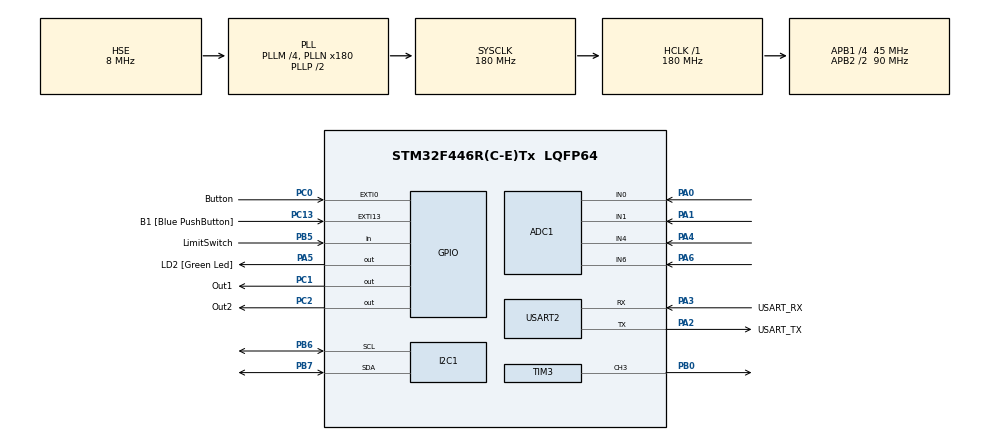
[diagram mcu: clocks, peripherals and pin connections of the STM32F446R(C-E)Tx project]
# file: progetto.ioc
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ADC1.Channel-0\#ChannelRegularConversion=ADC_CHANNEL_0
ADC1.Channel-1\#ChannelRegularConversion=ADC_CHANNEL_1
ADC1.Channel-2\#ChannelRegularConversion=ADC_CHANNEL_4
ADC1.Channel-3\#ChannelRegularConversion=ADC_CHANNEL_6
ADC1.ContinuousConvMode=ENABLE
ADC1.DMAContinuousRequests=ENABLE
ADC1.InjNumberOfConversion=0
ADC1.NbrOfConversion=4
ADC1.NbrOfConversionFlag=1
ADC1.Rank-0\#ChannelRegularConversion=1
ADC1.Rank-1\#ChannelRegularConversion=2
ADC1.Rank-2\#ChannelRegularConversion=3
ADC1.Rank-3\#ChannelRegularConversion=4
ADC1.SamplingTime-0\#ChannelRegularConversion=ADC_SAMPLETIME_3CYCLES
ADC1.SamplingTime-1\#ChannelRegularConversion=ADC_SAMPLETIME_3CYCLES
ADC1.SamplingTime-2\#ChannelRegularConversion=ADC_SAMPLETIME_3CYCLES
ADC1.SamplingTime-3\#ChannelRegularConversion=ADC_SAMPLETIME_3CYCLES
ADC1.ScanConvMode=ENABLE
ADC1.master=1
Dma.ADC1.0.Direction=DMA_PERIPH_TO_MEMORY
Dma.ADC1.0.FIFOMode=DMA_FIFOMODE_ENABLE
Dma.ADC1.0.FIFOThreshold=DMA_FIFO_THRESHOLD_FULL
Dma.ADC1.0.Instance=DMA2_Stream0
Dma.ADC1.0.MemBurst=DMA_MBURST_SINGLE
Dma.ADC1.0.MemDataAlignment=DMA_MDATAALIGN_HALFWORD
Dma.ADC1.0.MemInc=DMA_MINC_ENABLE
Dma.ADC1.0.Mode=DMA_CIRCULAR
Dma.ADC1.0.PeriphBurst=DMA_PBURST_SINGLE
Dma.ADC1.0.PeriphDataAlignment=DMA_PDATAALIGN_HALFWORD
Dma.ADC1.0.PeriphInc=DMA_PINC_DISABLE
Dma.ADC1.0.Priority=DMA_PRIORITY_LOW
Dma.Request0=ADC1
I2C1.I2C_Mode=I2C_Fast
Mcu.Family=STM32F4
Mcu.Name=STM32F446R(C-E)Tx
Mcu.Package=LQFP64
NVIC.DMA2_Stream0_IRQn=true\:3\:0\:true\:false\:true\:false\:true\:true
NVIC.EXTI0_IRQn=true\:3\:0\:true\:false\:true\:true\:true\:true
NVIC.PriorityGroup=NVIC_PRIORITYGROUP_2
PA0-WKUP.Signal=ADCx_IN0
PA1.Signal=ADCx_IN1
PA13.GPIO_Label=TMS
PA13.Mode=Serial_Wire
PA13.Signal=SYS_JTMS-SWDIO
PA14.GPIO_Label=TCK
PA14.Mode=Serial_Wire
PA14.Signal=SYS_JTCK-SWCLK
PA2.GPIO_Label=USART_TX
PA2.Mode=Asynchronous
PA2.Signal=USART2_TX
PA3.GPIO_Label=USART_RX
PA3.Mode=Asynchronous
PA3.Signal=USART2_RX
PA4.Signal=ADCx_IN4
PA5.GPIO_Label=LD2 [Green Led]
PA5.Signal=GPIO_Output
PA6.Signal=ADCx_IN6
PB0.Signal=S_TIM3_CH3
PB3.GPIO_Label=SWO
PB3.Signal=SYS_JTDO-SWO
PB5.GPIO_Label=LimitSwitch
PB5.Signal=GPIO_Input
PB6.Mode=I2C
PB6.Signal=I2C1_SCL
PB7.Mode=I2C
PB7.Signal=I2C1_SDA
PC0.GPIO_Label=Button
PC0.GPIO_ModeDefaultEXTI=GPIO_MODE_IT_FALLING
PC0.GPIO_PuPd=GPIO_PULLUP
PC0.Signal=GPXTI0
PC1.GPIO_Label=Out1
PC1.GPIO_PuPd=GPIO_PULLUP
PC1.Signal=GPIO_Output
PC13.GPIO_Label=B1 [Blue PushButton]
PC13.GPIO_ModeDefaultEXTI=GPIO_MODE_IT_FALLING
PC13.Signal=GPXTI13
PC14-OSC32_IN.Mode=LSE-External-Oscillator
PC14-OSC32_IN.Signal=RCC_OSC32_IN
PC15-OSC32_OUT.Mode=LSE-External-Oscillator
PC15-OSC32_OUT.Signal=RCC_OSC32_OUT
PC2.GPIO_Label=Out2
PC2.GPIO_PuPd=GPIO_PULLUP
PC2.Signal=GPIO_Output
PH0-OSC_IN.Mode=HSE-External-Oscillator
PH0-OSC_IN.Signal=RCC_OSC_IN
PH1-OSC_OUT.Mode=HSE-External-Oscillator
PH1-OSC_OUT.Signal=RCC_OSC_OUT
ProjectManager.HeapSize=0x200
ProjectManager.StackSize=0x400
ProjectManager.TargetToolchain=STM32CubeIDE
RCC.48MHZClocksFreq_Value=84000000
RCC.AHBFreq_Value=180000000
RCC.APB1CLKDivider=RCC_HCLK_DIV4
RCC.APB1Freq_Value=45000000
RCC.APB1TimFreq_Value=90000000
RCC.APB2CLKDivider=RCC_HCLK_DIV2
RCC.APB2Freq_Value=90000000
RCC.APB2TimFreq_Value=180000000
RCC.CortexFreq_Value=180000000
RCC.FLatency-AdvancedSettings=FLASH_LATENCY_5
RCC.HCLKFreq_Value=180000000
RCC.HSE_VALUE=8000000
RCC.HSI_VALUE=16000000
RCC.PLLM=4
RCC.PLLN=180
RCC.PLLSourceVirtual=RCC_PLLSOURCE_HSE
RCC.SYSCLKFreq_VALUE=180000000
RCC.SYSCLKSource=RCC_SYSCLKSOURCE_PLLCLK
RCC.USBFreq_Value=180000000
RCC.VCOOutputFreq_Value=360000000
SH.ADCx_IN0.0=ADC1_IN0,IN0
SH.ADCx_IN1.0=ADC1_IN1,IN1
SH.ADCx_IN4.0=ADC1_IN4,IN4
SH.ADCx_IN6.0=ADC1_IN6,IN6
SH.S_TIM3_CH3.0=TIM3_CH3,PWM Generation3 CH3
TIM3.Channel-PWM\ Generation3\ CH3=TIM_CHANNEL_3
TIM3.Prescaler=83
USART2.VirtualMode=VM_ASYNC
board=NUCLEO-F446RE

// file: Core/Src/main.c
/* USER CODE BEGIN Header */
/**
  ******************************************************************************
  * @file           : main.c
  * @brief          : Main program body
  ******************************************************************************
  * @attention
  *
  * Copyright (c) 2024 STMicroelectronics.
  * All rights reserved.
  *
  * This software is licensed under terms that can be found in the LICENSE file
  * in the root directory of this software component.
  * If no LICENSE file comes with this software, it is provided AS-IS.
  *
  ******************************************************************************
  */
/* USER CODE END Header */
#include "main.h"
#include "adc.h"
#include "dma.h"
#include "i2c.h"
#include "tim.h"
#include "usart.h"
#include "gpio.h"

/* USER CODE BEGIN Includes */
#include <stdio.h>
#include <stdbool.h>
#include "pca9685.h"
#include "ina219.h"
/* USER CODE END Includes */

/* USER CODE BEGIN PD */
#define INA219_ADDRESS (0x41)

#define PULSE_MAX 99
#define PULSE_MIN 0
/* USER CODE END PD */

/* USER CODE BEGIN PV */
  INA219_t ina219;

  uint8_t ActiveServo;
  uint16_t adcValues[4];
  uint8_t angles[4];

  bool grippe=0;
  bool finecorsa=0;
  float current_value = 0;
  float current_ref = 0.4;
  float integral = 0;
  float previous_error = 0;
  uint16_t pulse = 0;

  float current_value = 0;

/* USER CODE END PV */

void SystemClock_Config(void);
/* USER CODE BEGIN PFP */

void HAL_GPIO_EXTI_Callback(uint16_t GPIO_Pin) {
    if(HAL_GPIO_ReadPin(GPIOC, GPIO_PIN_0) == GPIO_PIN_RESET) {
   	 gripper = !gripper;
    	}
}

/* USER CODE END PFP */

/* USER CODE BEGIN 0 */

int __io_putchar(int ch)
{
  HAL_UART_Transmit(&huart2, (uint8_t *)&ch, 1, HAL_MAX_DELAY);
  return ch;
}

void _putchar(char c)
{
  ITM_SendChar(c);
}

void SWV_PrintInt(int val)
{
    char buffer[32];
    sprintf(buffer, "%d\n", val);
    for (int i = 0; buffer[i] != '\0'; i++) {
        ITM_SendChar(buffer[i]);
    }
}

/* USER CODE END 0 */

int main(void)
{

  /* MCU Configuration--------------------------------------------------------*/

  /* Reset of all peripherals, Initializes the Flash interface and the Systick. */
  HAL_Init();

  /* Configure the system clock */
  SystemClock_Config();

  /* Initialize all configured peripherals */
  MX_GPIO_Init();
  MX_DMA_Init();
  MX_USART2_UART_Init();
  MX_I2C1_Init();
  MX_ADC1_Init();
  MX_TIM3_Init();
  /* USER CODE BEGIN 2 */
  HAL_ADC_Start_DMA(&hadc1, (uint32_t*)adcValues, 4);

  PCA9685_Init(&hi2c1);
  while(!INA219_Init(&ina219, &hi2c1, INA219_ADDRESS, 0.500)){}

  if (HAL_I2C_IsDeviceReady(&hi2c1, PCA9685_ADDRESS, 1, HAL_MAX_DELAY) != HAL_OK) {
        Error_Handler();
    }

  if (HAL_I2C_IsDeviceReady(&hi2c1, INA219_ADDRESS<<1, 1, HAL_MAX_DELAY) != HAL_OK) {
      Error_Handler();
  }

  PCA9685_SetServoAngle(0, 0);
  PCA9685_SetServoAngle(1, 0);
  PCA9685_SetServoAngle(2, 0);
  PCA9685_SetServoAngle(3, 0);
  PCA9685_SetServoAngle(4, 0);
  /* USER CODE END 2 */

  /* Infinite loop */
  /* USER CODE BEGIN WHILE */
  while (1)
  {
	  angles[0] = (uint8_t)((adcValues[0]*180)/4096);
	  angles[1] = (uint8_t)((adcValues[1]*180)/4096);
	  angles[2] = (uint8_t)((adcValues[2]*180)/4096);
	  angles[3] = (uint8_t)((adcValues[3]*180)/4096);

	  PCA9685_SetServoAngle(0, angles[0]);
	  PCA9685_SetServoAngle(1, angles[1]);
	  PCA9685_SetServoAngle(2, angles[2]);
	  PCA9685_SetServoAngle(3, angles[3]);

	  current_value = INA219_ReadCurrent(&ina219);
	  SWV_PrintInt(current_value * 1000);
	  SWV_PrintInt(current_ref);
	  HAL_Delay(500);

	     if (gripper == 1) {
	          HAL_GPIO_WritePin(GPIOC, GPIO_PIN_1, GPIO_PIN_RESET);
	          HAL_GPIO_WritePin(GPIOC, GPIO_PIN_2, GPIO_PIN_SET);

	          float error = current_ref - current_value;

	          float derivative = (error - previous_error) / 0.1;

	          if ((pulse > PULSE_MAX && error > 0) || (pulse < PULSE_MIN && error < 0)) {
	              integral = integral;
	          } else {
	              integral += error * 0.1;
	          }

	          float control_signal = (Kp * error) + (Ki * integral) + (Kd * derivative);
	          pulse += (int)control_signal;

	          if (pulse > PULSE_MAX) pulse = PULSE_MAX;
	          if (pulse < PULSE_MIN) pulse = PULSE_MIN;

	          __HAL_TIM_SET_COMPARE(&htim3, TIM_CHANNEL_3, pulse);

	          previous_error = error;
	      }

	     else if (gripper==0){
	          HAL_GPIO_WritePin(GPIOC, GPIO_PIN_1, GPIO_PIN_SET);
	          HAL_GPIO_WritePin(GPIOC, GPIO_PIN_2, GPIO_PIN_RESET);
	          if (HAL_GPIO_ReadPin(GPIOB, GPIO_PIN_5) == GPIO_PIN_RESET){
	              HAL_GPIO_WritePin(GPIOC, GPIO_PIN_1, GPIO_PIN_RESET);
	              HAL_GPIO_WritePin(GPIOC, GPIO_PIN_2, GPIO_PIN_RESET);
	              __HAL_TIM_SET_COMPARE(&htim3, TIM_CHANNEL_3, 0);
	          }
		  }

    /* USER CODE END WHILE */

  }
}

void SystemClock_Config(void)
{
  RCC_OscInitTypeDef RCC_OscInitStruct = {0};
  RCC_ClkInitTypeDef RCC_ClkInitStruct = {0};

  /** Configure the main internal regulator output voltage
  */
  __HAL_RCC_PWR_CLK_ENABLE();
  __HAL_PWR_VOLTAGESCALING_CONFIG(PWR_REGULATOR_VOLTAGE_SCALE1);

  /** Initializes the RCC Oscillators according to the specified parameters
  * in the RCC_OscInitTypeDef structure.
  */
  RCC_OscInitStruct.OscillatorType = RCC_OSCILLATORTYPE_HSE;
  RCC_OscInitStruct.HSEState = RCC_HSE_ON;
  RCC_OscInitStruct.PLL.PLLState = RCC_PLL_ON;
  RCC_OscInitStruct.PLL.PLLSource = RCC_PLLSOURCE_HSE;
  RCC_OscInitStruct.PLL.PLLM = 4;
  RCC_OscInitStruct.PLL.PLLN = 180;
  RCC_OscInitStruct.PLL.PLLP = RCC_PLLP_DIV2;
  RCC_OscInitStruct.PLL.PLLQ = 2;
  RCC_OscInitStruct.PLL.PLLR = 2;
  if (HAL_RCC_OscConfig(&RCC_OscInitStruct) != HAL_OK)
  {
    Error_Handler();
  }

  /** Activate the Over-Drive mode
  */
  if (HAL_PWREx_EnableOverDrive() != HAL_OK)
  {
    Error_Handler();
  }

  /** Initializes the CPU, AHB and APB buses clocks
  */
  RCC_ClkInitStruct.ClockType = RCC_CLOCKTYPE_HCLK|RCC_CLOCKTYPE_SYSCLK
                              |RCC_CLOCKTYPE_PCLK1|RCC_CLOCKTYPE_PCLK2;
  RCC_ClkInitStruct.SYSCLKSource = RCC_SYSCLKSOURCE_PLLCLK;
  RCC_ClkInitStruct.AHBCLKDivider = RCC_SYSCLK_DIV1;
  RCC_ClkInitStruct.APB1CLKDivider = RCC_HCLK_DIV4;
  RCC_ClkInitStruct.APB2CLKDivider = RCC_HCLK_DIV2;

  if (HAL_RCC_ClockConfig(&RCC_ClkInitStruct, FLASH_LATENCY_5) != HAL_OK)
  {
    Error_Handler();
  }
}

void Error_Handler(void)
{
  __disable_irq();
  while (1)
  {
  }
}
